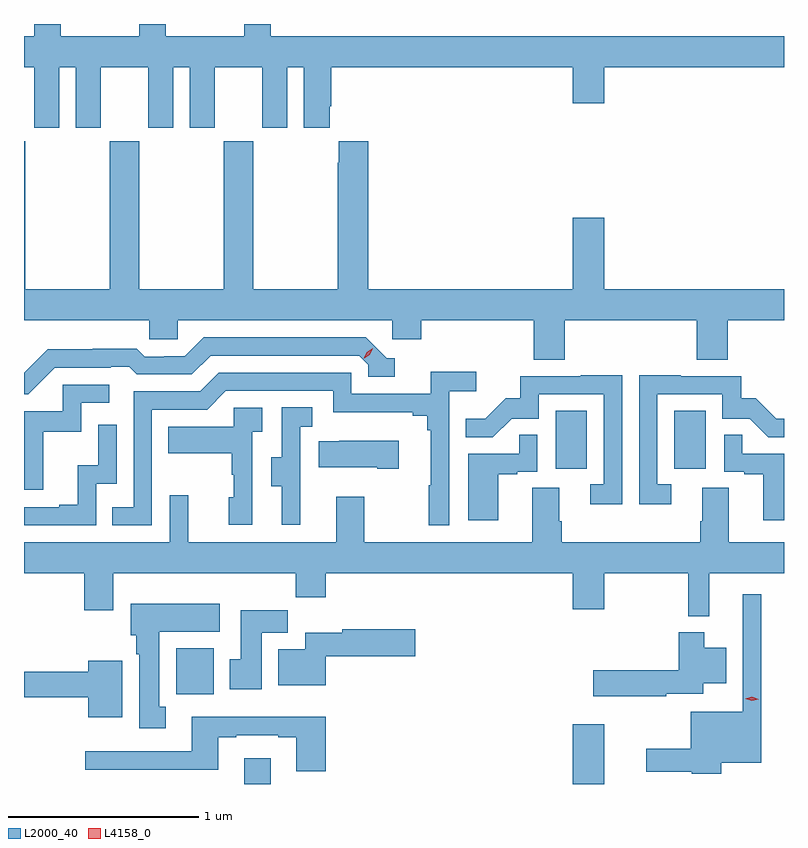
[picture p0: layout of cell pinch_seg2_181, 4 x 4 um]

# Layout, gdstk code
import gdstk
lib = gdstk.Library(unit=1e-6, precision=1e-09)
def R(c, l, rs):  # rectangles x0, y0, x1, y1
    for r in rs: c.add(gdstk.rectangle(r[:2], r[2:], *l))
def P(c, l, *ps):  # polygons
    for p in ps: c.add(gdstk.Polygon(p, *l))
L2000_40 = (2000, 40)
L4158_0 = (4158, 0)

pinch_seg2_181 = lib.new_cell('pinch_seg2_181')
R(pinch_seg2_181, L2000_40, [(1122.317,629.212,1122.457,629.347), (1124.048,629.212,1124.212,629.527), (1121.96,629.684,1122.157,629.926), (1123.958,630.87,1124.122,631.177), (1124.582,630.87,1124.746,631.177)])
P(pinch_seg2_181, L2000_40, [(1121.344,632.984),(1121.432,632.984),(1121.432,632.667),(1121.563,632.667),(1121.563,632.984),(1121.813,632.984),(1121.813,632.667),(1121.944,632.667),(1121.944,632.984),(1122.032,632.984),(1122.032,632.667),(1122.163,632.667),(1122.163,632.984),(1122.413,632.984),(1122.413,632.667),(1122.544,632.667),(1122.544,632.984),(1122.632,632.984),(1122.632,632.667),(1122.769,632.667),(1122.769,632.779),(1122.776,632.779),(1122.776,632.984),(1124.048,632.984),(1124.048,632.796),(1124.212,632.796),(1124.212,632.984),(1125.159,632.984),(1125.159,633.148),(1122.457,633.148),(1122.457,633.212),(1122.317,633.212),(1122.317,633.148),(1121.905,633.148),(1121.905,633.212),(1121.765,633.212),(1121.765,633.148),(1121.353,633.148),(1121.353,633.212),(1121.214,633.212),(1121.214,633.148),(1121.159,633.148),(1121.159,632.984),(1121.213,632.984),(1121.213,632.667),(1121.344,632.667)],
  [(1124.006,631.652),(1124.699,631.652),(1124.699,631.444),(1124.864,631.444),(1124.864,631.652),(1125.159,631.652),(1125.159,631.816),(1124.212,631.816),(1124.212,632.191),(1124.048,632.191),(1124.048,631.816),(1122.971,631.816),(1122.971,632.596),(1122.815,632.596),(1122.815,632.483),(1122.811,632.483),(1122.811,631.816),(1122.366,631.816),(1122.366,632.596),(1122.211,632.596),(1122.211,631.816),(1121.766,631.816),(1121.766,632.596),(1121.611,632.596),(1121.611,631.816),(1121.166,631.816),(1121.166,632.596),(1121.159,632.596),(1121.159,631.652),(1121.817,631.652),(1121.817,631.554),(1121.967,631.554),(1121.967,631.652),(1123.098,631.652),(1123.098,631.554),(1123.25,631.554),(1123.25,631.652),(1123.841,631.652),(1123.841,631.444),(1124.006,631.444)],
  [(1121.322,631.404),(1121.615,631.404),(1121.615,631.407),(1121.714,631.407),(1121.753,631.368),(1122.042,631.368),(1122.141,631.467),(1122.924,631.467),(1122.972,631.419),(1122.972,631.356),(1123.111,631.356),(1123.111,631.452),(1123.068,631.452),(1122.957,631.563),(1122.104,631.563),(1122.005,631.464),(1121.898,631.464),(1121.898,631.461),(1121.795,631.461),(1121.753,631.504),(1121.52,631.504),(1121.52,631.501),(1121.284,631.501),(1121.159,631.376),(1121.159,631.263),(1121.181,631.263)],
  [(1121.832,631.182),(1122.123,631.182),(1122.222,631.281),(1122.786,631.281),(1122.786,631.169),(1123.205,631.169),(1123.205,631.15),(1123.282,631.15),(1123.282,631.073),(1123.301,631.073),(1123.301,630.785),(1123.29,630.785),(1123.29,630.573),(1123.398,630.573),(1123.398,631.28),(1123.54,631.28),(1123.54,631.382),(1123.301,631.382),(1123.301,631.266),(1122.882,631.266),(1122.882,631.377),(1122.185,631.377),(1122.086,631.278),(1121.736,631.278),(1121.736,630.669),(1121.623,630.669),(1121.623,630.573),(1121.832,630.573)],
  [(1124.307,631.364),(1124.089,631.364),(1124.089,631.359),(1123.771,631.359),(1123.771,631.242),(1123.694,631.242),(1123.587,631.135),(1123.483,631.135),(1123.483,631.036),(1123.627,631.036),(1123.725,631.134),(1123.869,631.134),(1123.869,631.263),(1124.211,631.263),(1124.211,630.789),(1124.139,630.789),(1124.139,630.684),(1124.307,630.684)],
  [(1124.566,630.789),(1124.493,630.789),(1124.493,631.263),(1124.835,631.263),(1124.835,631.134),(1124.979,631.134),(1125.077,631.036),(1125.159,631.036),(1125.159,631.135),(1125.117,631.135),(1125.01,631.242),(1124.934,631.242),(1124.934,631.359),(1124.615,631.359),(1124.615,631.364),(1124.397,631.364),(1124.397,630.684),(1124.566,630.684)],
  [(1121.261,631.065),(1121.46,631.065),(1121.46,631.218),(1121.608,631.218),(1121.608,631.314),(1121.364,631.314),(1121.364,631.173),(1121.159,631.173),(1121.159,630.762),(1121.261,630.762)],
  [(1122.614,630.789),(1122.612,630.789),(1122.612,631.093),(1122.676,631.093),(1122.676,631.196),(1122.516,631.196),(1122.516,630.933),(1122.461,630.933),(1122.461,630.778),(1122.515,630.778),(1122.515,630.576),(1122.614,630.576)],
  [(1122.36,631.067),(1122.412,631.067),(1122.412,631.191),(1122.264,631.191),(1122.264,631.093),(1121.917,631.093),(1121.917,630.953),(1122.252,630.953),(1122.252,630.839),(1122.262,630.839),(1122.262,630.72),(1122.236,630.72),(1122.236,630.576),(1122.36,630.576)],
  [(1121.538,630.792),(1121.646,630.792),(1121.646,631.102),(1121.55,631.102),(1121.55,630.89),(1121.441,630.89),(1121.441,630.682),(1121.345,630.682),(1121.345,630.669),(1121.159,630.669),(1121.159,630.573),(1121.538,630.573)],
  [(1125.159,630.951),(1124.939,630.951),(1124.939,631.049),(1124.844,631.049),(1124.844,630.855),(1124.951,630.855),(1124.951,630.843),(1125.05,630.843),(1125.05,630.6),(1125.159,630.6)],
  [(1123.654,630.843),(1123.754,630.843),(1123.754,630.855),(1123.86,630.855),(1123.86,631.049),(1123.765,631.049),(1123.765,630.951),(1123.496,630.951),(1123.496,630.6),(1123.654,630.6)],
  [(1123.132,631.018),(1122.817,631.018),(1122.817,631.015),(1122.709,631.015),(1122.709,630.878),(1123.019,630.878),(1123.019,630.871),(1123.132,630.871)],
  [(1124.765,630.32),(1125.159,630.32),(1125.159,630.484),(1124.869,630.484),(1124.869,630.77),(1124.729,630.77),(1124.729,630.596),(1124.717,630.596),(1124.717,630.484),(1123.988,630.484),(1123.988,630.596),(1123.975,630.596),(1123.975,630.77),(1123.835,630.77),(1123.835,630.484),(1122.951,630.484),(1122.951,630.724),(1122.803,630.724),(1122.803,630.484),(1122.023,630.484),(1122.023,630.733),(1121.925,630.733),(1121.925,630.484),(1121.159,630.484),(1121.159,630.32),(1121.477,630.32),(1121.477,630.126),(1121.629,630.126),(1121.629,630.32),(1122.589,630.32),(1122.589,630.196),(1122.746,630.196),(1122.746,630.32),(1124.048,630.32),(1124.048,630.132),(1124.212,630.132),(1124.212,630.32),(1124.655,630.32),(1124.655,630.095),(1124.765,630.095)],
  [(1124.829,629.324),(1125.04,629.324),(1125.04,630.211),(1124.943,630.211),(1124.943,629.593),(1124.669,629.593),(1124.669,629.398),(1124.433,629.398),(1124.433,629.276),(1124.673,629.276),(1124.673,629.267),(1124.829,629.267)],
  [(1121.905,629.618),(1121.872,629.618),(1121.872,630.014),(1122.19,630.014),(1122.19,630.16),(1121.72,630.16),(1121.72,629.994),(1121.75,629.994),(1121.75,629.894),(1121.765,629.894),(1121.765,629.505),(1121.905,629.505)],
  [(1122.409,630.008),(1122.548,630.008),(1122.548,630.127),(1122.299,630.127),(1122.299,629.868),(1122.242,629.868),(1122.242,629.712),(1122.409,629.712)],
  [(1122.748,629.885),(1123.219,629.885),(1123.219,630.027),(1122.834,630.027),(1122.834,630.007),(1122.638,630.007),(1122.638,629.92),(1122.497,629.92),(1122.497,629.732),(1122.748,629.732)],
  [(1124.538,629.687),(1124.734,629.687),(1124.734,629.741),(1124.854,629.741),(1124.854,629.929),(1124.74,629.929),(1124.74,630.01),(1124.606,630.01),(1124.606,629.81),(1124.154,629.81),(1124.154,629.675),(1124.538,629.675)],
  [(1121.677,629.86),(1121.498,629.86),(1121.498,629.804),(1121.159,629.804),(1121.159,629.668),(1121.498,629.668),(1121.498,629.564),(1121.677,629.564)],
  [(1122.746,629.566),(1122.041,629.566),(1122.041,629.385),(1121.481,629.385),(1121.481,629.288),(1122.181,629.288),(1122.181,629.457),(1122.277,629.457),(1122.277,629.469),(1122.497,629.469),(1122.497,629.457),(1122.593,629.457),(1122.593,629.28),(1122.746,629.28)])
P(pinch_seg2_181, L4158_0, [(1124.989,629.65),(1124.954,629.661),(1124.954,629.662),(1124.954,629.662),(1124.99,629.67),(1125.025,629.658),(1125.025,629.658),(1125.025,629.658)],
  [(1122.948,631.453),(1122.948,631.453),(1122.964,631.485),(1122.995,631.505),(1122.995,631.505),(1122.995,631.505),(1122.979,631.472),(1122.949,631.453)])

lib.write_gds('pinch_seg2_181.gds')
